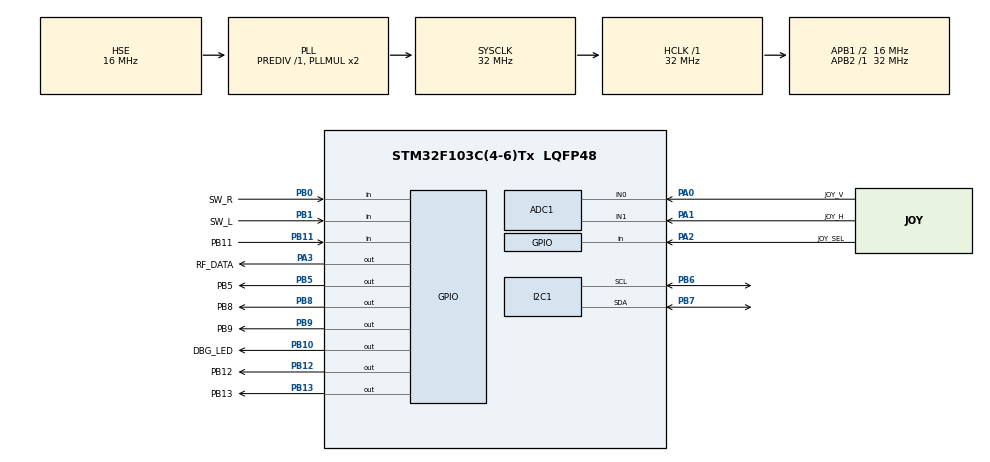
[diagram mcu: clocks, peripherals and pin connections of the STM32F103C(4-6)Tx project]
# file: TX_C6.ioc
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ADC1.Channel-1\#ChannelRegularConversion=ADC_CHANNEL_0
ADC1.NbrOfConversionFlag=1
ADC1.Rank-1\#ChannelRegularConversion=1
ADC1.SamplingTime-1\#ChannelRegularConversion=ADC_SAMPLETIME_1CYCLE_5
ADC1.master=1
I2C1.I2C_Mode=I2C_Fast
Mcu.Family=STM32F1
Mcu.Name=STM32F103C(4-6)Tx
Mcu.Package=LQFP48
NVIC.PriorityGroup=NVIC_PRIORITYGROUP_4
NVIC.TIM2_IRQn=true\:0\:0\:false\:false\:true\:true\:true\:true
PA0-WKUP.GPIO_Label=JOY_V
PA0-WKUP.Signal=SharedAnalog_PA0
PA1.GPIO_Label=JOY_H
PA1.Signal=SharedAnalog_PA1
PA13.Mode=Serial_Wire
PA13.Signal=SYS_JTMS-SWDIO
PA14.Mode=Serial_Wire
PA14.Signal=SYS_JTCK-SWCLK
PA2.GPIO_Label=JOY_SEL
PA2.Signal=GPIO_Input
PA3.GPIO_Label=RF_DATA
PA3.Signal=GPIO_Output
PB0.GPIO_Label=SW_R
PB0.Signal=GPIO_Input
PB1.GPIO_Label=SW_L
PB1.Signal=GPIO_Input
PB10.GPIO_Label=DBG_LED
PB10.Signal=GPIO_Output
PB11.GPIO_Label=PB11
PB11.Signal=GPIO_Input
PB12.GPIO_Label=PB12
PB12.Signal=GPIO_Output
PB13.GPIO_Label=PB13
PB13.Signal=GPIO_Output
PB5.GPIO_Label=PB5
PB5.Signal=GPIO_Output
PB6.Mode=I2C
PB6.Signal=I2C1_SCL
PB7.Mode=I2C
PB7.Signal=I2C1_SDA
PB8.GPIO_Label=PB8
PB8.Signal=GPIO_Output
PB9.GPIO_Label=PB9
PB9.Signal=GPIO_Output
PD0-OSC_IN.Mode=HSE-External-Oscillator
PD0-OSC_IN.Signal=RCC_OSC_IN
PD1-OSC_OUT.Mode=HSE-External-Oscillator
PD1-OSC_OUT.Signal=RCC_OSC_OUT
ProjectManager.HeapSize=0x200
ProjectManager.StackSize=0x400
ProjectManager.TargetToolchain=STM32CubeIDE
RCC.ADCPresc=RCC_ADCPCLK2_DIV4
RCC.AHBFreq_Value=32000000
RCC.APB1CLKDivider=RCC_HCLK_DIV2
RCC.APB1Freq_Value=16000000
RCC.APB1TimFreq_Value=32000000
RCC.APB2Freq_Value=32000000
RCC.APB2TimFreq_Value=32000000
RCC.HCLKFreq_Value=32000000
RCC.HSE_VALUE=16000000
RCC.PLLSourceVirtual=RCC_PLLSOURCE_HSE
RCC.PREFETCH_ENABLE=1
RCC.SYSCLKFreq_VALUE=32000000
RCC.SYSCLKSource=RCC_SYSCLKSOURCE_PLLCLK
RCC.USBFreq_Value=32000000
SH.SharedAnalog_PA0.0=GPIO_Analog
SH.SharedAnalog_PA0.1=ADC1_IN0,IN0
SH.SharedAnalog_PA1.0=GPIO_Analog
SH.SharedAnalog_PA1.1=ADC1_IN1,IN1
TIM2.Period=1999
VP_TIM2_VS_ClockSourceINT.Mode=Internal
board=custom

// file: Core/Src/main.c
/* USER CODE BEGIN Header */
/**
  ******************************************************************************
  * @file           : main.c
  * @brief          : Main program body
  ******************************************************************************
  * @attention
  *
  * Copyright (c) 2026 STMicroelectronics.
  * All rights reserved.
  *
  * This software is licensed under terms that can be found in the LICENSE file
  * in the root directory of this software component.
  * If no LICENSE file comes with this software, it is provided AS-IS.
  *
  ******************************************************************************
  */
/* USER CODE END Header */
#include "main.h"

/* USER CODE BEGIN Includes */
#include "ask_hal.h"
/* USER CODE END Includes */

/* USER CODE BEGIN PD */

#define JOY_CENTER    2048                                          /* ADC mid-scale */
#define JOY_DEADZONE  200                                           /* dead-band either side */
#define JOY_RANGE     (JOY_CENTER - JOY_DEADZONE)                  /* usable range: 1848 */
#define MOTOR_DUTY_MIN  2U                                          /* min duty when moving */
#define MOTOR_DUTY_MAX  31U                                         /* matches MOTOR_PWM_STEPS-1 on RX */

/* Packet field: direction byte values — must match btm9011_simple.h on RX */
#define DIR_BRAKE    0U
#define DIR_FORWARD  1U
#define DIR_REVERSE  2U

/* ASK transmission parameters */
#define ASK_BIT_TIME_US  1000U   /* 1 kbps — conservative, suits XY-MK-5V/FS1000A */
#define ASK_RETRIES      2U      /* repeat count per ask_send_bytes call */
#define ASK_SEND_PERIOD  50U     /* ms between transmissions (~20 Hz update rate) */

/* USER CODE END PD */

ADC_HandleTypeDef hadc1;

I2C_HandleTypeDef hi2c1;

TIM_HandleTypeDef htim2;

void SystemClock_Config(void);
static void MX_GPIO_Init(void);
static void MX_I2C1_Init(void);
static void MX_TIM2_Init(void);
static void MX_ADC1_Init(void);
/* USER CODE BEGIN PFP */

static uint16_t ADC_ReadChannel(uint32_t channel);

/* USER CODE END PFP */

int main(void)
{

  /* MCU Configuration--------------------------------------------------------*/

  /* Reset of all peripherals, Initializes the Flash interface and the Systick. */
  HAL_Init();

  /* Configure the system clock */
  SystemClock_Config();

  /* Initialize all configured peripherals */
  MX_GPIO_Init();
  MX_I2C1_Init();
  MX_TIM2_Init();
  MX_ADC1_Init();
  /* USER CODE BEGIN 2 */

  /* ASK 433 MHz transmitter — TX-only, no RX pin on this board */
  ask433.fn_micros    = ask_micros_433;
  ask433.fn_delay_ms  = ask_delay_ms_433;
  ask433.fn_delay_us  = ask_delay_us_433;
  ask433.fn_init_tx   = ask_init_tx433;
  ask433.fn_write_pin = ask_write_pin_433;
  ask433.fn_init_rx   = NULL;
  ask433.fn_read_pin  = NULL;
  ask_init(&ask433);

  /* USER CODE END 2 */

  /* Infinite loop */
  while (1)
  {

    /* USER CODE BEGIN 3 */

    /* Read joystick axes */
    uint16_t raw_v = ADC_ReadChannel(ADC_CHANNEL_0); /* vertical  — throttle */
    uint16_t raw_h = ADC_ReadChannel(ADC_CHANNEL_1); /* horizontal — steering */

    /* ── Throttle ─────────────────────────────────────────────────────────── */
    int16_t  dv       = (int16_t)raw_v - JOY_CENTER;
    uint8_t  duty     = 0;
    uint8_t  dir      = DIR_BRAKE;

    if (dv > (int16_t)JOY_DEADZONE) {
      int16_t mag = dv - (int16_t)JOY_DEADZONE;
      if (mag > (int16_t)JOY_RANGE) mag = (int16_t)JOY_RANGE;
      duty = (uint8_t)(MOTOR_DUTY_MIN + (uint32_t)mag * (MOTOR_DUTY_MAX - MOTOR_DUTY_MIN) / JOY_RANGE);
      dir  = DIR_FORWARD;
    } else if (dv < -(int16_t)JOY_DEADZONE) {
      int16_t mag = -dv - (int16_t)JOY_DEADZONE;
      if (mag > (int16_t)JOY_RANGE) mag = (int16_t)JOY_RANGE;
      duty = (uint8_t)(MOTOR_DUTY_MIN + (uint32_t)mag * (MOTOR_DUTY_MAX - MOTOR_DUTY_MIN) / JOY_RANGE);
      dir  = DIR_REVERSE;
    }

    /* ── Steering ─────────────────────────────────────────────────────────── */
    /* Map 0-4095 → 0-255 */
    uint8_t steering = (uint8_t)(raw_h * 255U / 4095U);

    /* ── Build and send 3-byte packet ────────────────────────────────────── */
    /* [duty 0-31][dir 0=brake/1=fwd/2=rev][steering 0-255, 128=centre] */
    uint8_t pkt[3] = { duty, dir, steering };
    ask_send_bytes(&ask433, pkt, 3, ASK_BIT_TIME_US, ASK_RETRIES);

    HAL_Delay(ASK_SEND_PERIOD);

    /* USER CODE END 3 */
  }
}

void SystemClock_Config(void)
{
  RCC_OscInitTypeDef RCC_OscInitStruct = {0};
  RCC_ClkInitTypeDef RCC_ClkInitStruct = {0};
  RCC_PeriphCLKInitTypeDef PeriphClkInit = {0};

  /** Initializes the RCC Oscillators according to the specified parameters
  * in the RCC_OscInitTypeDef structure.
  */
  RCC_OscInitStruct.OscillatorType = RCC_OSCILLATORTYPE_HSE;
  RCC_OscInitStruct.HSEState = RCC_HSE_ON;
  RCC_OscInitStruct.HSEPredivValue = RCC_HSE_PREDIV_DIV1;
  RCC_OscInitStruct.HSIState = RCC_HSI_ON;
  RCC_OscInitStruct.PLL.PLLState = RCC_PLL_ON;
  RCC_OscInitStruct.PLL.PLLSource = RCC_PLLSOURCE_HSE;
  RCC_OscInitStruct.PLL.PLLMUL = RCC_PLL_MUL2;
  if (HAL_RCC_OscConfig(&RCC_OscInitStruct) != HAL_OK)
  {
    Error_Handler();
  }

  /** Initializes the CPU, AHB and APB buses clocks
  */
  RCC_ClkInitStruct.ClockType = RCC_CLOCKTYPE_HCLK|RCC_CLOCKTYPE_SYSCLK
                              |RCC_CLOCKTYPE_PCLK1|RCC_CLOCKTYPE_PCLK2;
  RCC_ClkInitStruct.SYSCLKSource = RCC_SYSCLKSOURCE_PLLCLK;
  RCC_ClkInitStruct.AHBCLKDivider = RCC_SYSCLK_DIV1;
  RCC_ClkInitStruct.APB1CLKDivider = RCC_HCLK_DIV2;
  RCC_ClkInitStruct.APB2CLKDivider = RCC_HCLK_DIV1;

  if (HAL_RCC_ClockConfig(&RCC_ClkInitStruct, FLASH_LATENCY_1) != HAL_OK)
  {
    Error_Handler();
  }
  PeriphClkInit.PeriphClockSelection = RCC_PERIPHCLK_ADC;
  PeriphClkInit.AdcClockSelection = RCC_ADCPCLK2_DIV4;
  if (HAL_RCCEx_PeriphCLKConfig(&PeriphClkInit) != HAL_OK)
  {
    Error_Handler();
  }
}

static void MX_ADC1_Init(void)
{

  ADC_ChannelConfTypeDef sConfig = {0};

  /** Common config
  */
  hadc1.Instance = ADC1;
  hadc1.Init.ScanConvMode = ADC_SCAN_DISABLE;
  hadc1.Init.ContinuousConvMode = DISABLE;
  hadc1.Init.DiscontinuousConvMode = DISABLE;
  hadc1.Init.ExternalTrigConv = ADC_SOFTWARE_START;
  hadc1.Init.DataAlign = ADC_DATAALIGN_RIGHT;
  hadc1.Init.NbrOfConversion = 1;
  if (HAL_ADC_Init(&hadc1) != HAL_OK)
  {
    Error_Handler();
  }

  /** Configure Regular Channel
  */
  sConfig.Channel = ADC_CHANNEL_0;
  sConfig.Rank = ADC_REGULAR_RANK_1;
  sConfig.SamplingTime = ADC_SAMPLETIME_1CYCLE_5;
  if (HAL_ADC_ConfigChannel(&hadc1, &sConfig) != HAL_OK)
  {
    Error_Handler();
  }

}

static void MX_I2C1_Init(void)
{

  hi2c1.Instance = I2C1;
  hi2c1.Init.ClockSpeed = 400000;
  hi2c1.Init.DutyCycle = I2C_DUTYCYCLE_2;
  hi2c1.Init.OwnAddress1 = 0;
  hi2c1.Init.AddressingMode = I2C_ADDRESSINGMODE_7BIT;
  hi2c1.Init.DualAddressMode = I2C_DUALADDRESS_DISABLE;
  hi2c1.Init.OwnAddress2 = 0;
  hi2c1.Init.GeneralCallMode = I2C_GENERALCALL_DISABLE;
  hi2c1.Init.NoStretchMode = I2C_NOSTRETCH_DISABLE;
  if (HAL_I2C_Init(&hi2c1) != HAL_OK)
  {
    Error_Handler();
  }

}

static void MX_TIM2_Init(void)
{

  TIM_ClockConfigTypeDef sClockSourceConfig = {0};
  TIM_MasterConfigTypeDef sMasterConfig = {0};

  htim2.Instance = TIM2;
  htim2.Init.Prescaler = 0;
  htim2.Init.CounterMode = TIM_COUNTERMODE_UP;
  htim2.Init.Period = 1999;
  htim2.Init.ClockDivision = TIM_CLOCKDIVISION_DIV1;
  htim2.Init.AutoReloadPreload = TIM_AUTORELOAD_PRELOAD_DISABLE;
  if (HAL_TIM_Base_Init(&htim2) != HAL_OK)
  {
    Error_Handler();
  }
  sClockSourceConfig.ClockSource = TIM_CLOCKSOURCE_INTERNAL;
  if (HAL_TIM_ConfigClockSource(&htim2, &sClockSourceConfig) != HAL_OK)
  {
    Error_Handler();
  }
  sMasterConfig.MasterOutputTrigger = TIM_TRGO_RESET;
  sMasterConfig.MasterSlaveMode = TIM_MASTERSLAVEMODE_DISABLE;
  if (HAL_TIMEx_MasterConfigSynchronization(&htim2, &sMasterConfig) != HAL_OK)
  {
    Error_Handler();
  }

}

static void MX_GPIO_Init(void)
{
  GPIO_InitTypeDef GPIO_InitStruct = {0};

  /* GPIO Ports Clock Enable */
  __HAL_RCC_GPIOD_CLK_ENABLE();
  __HAL_RCC_GPIOA_CLK_ENABLE();
  __HAL_RCC_GPIOB_CLK_ENABLE();

  /*Configure GPIO pin Output Level */
  HAL_GPIO_WritePin(RF_DATA_GPIO_Port, RF_DATA_Pin, GPIO_PIN_RESET);

  /*Configure GPIO pin Output Level */
  HAL_GPIO_WritePin(GPIOB, DBG_LED_Pin|PB12_Pin|PB13_Pin|PB5_Pin
                          |PB8_Pin|PB9_Pin, GPIO_PIN_RESET);

  /*Configure GPIO pin : JOY_SEL_Pin */
  GPIO_InitStruct.Pin = JOY_SEL_Pin;
  GPIO_InitStruct.Mode = GPIO_MODE_INPUT;
  GPIO_InitStruct.Pull = GPIO_NOPULL;
  HAL_GPIO_Init(JOY_SEL_GPIO_Port, &GPIO_InitStruct);

  /*Configure GPIO pin : RF_DATA_Pin */
  GPIO_InitStruct.Pin = RF_DATA_Pin;
  GPIO_InitStruct.Mode = GPIO_MODE_OUTPUT_PP;
  GPIO_InitStruct.Pull = GPIO_NOPULL;
  GPIO_InitStruct.Speed = GPIO_SPEED_FREQ_LOW;
  HAL_GPIO_Init(RF_DATA_GPIO_Port, &GPIO_InitStruct);

  /*Configure GPIO pins : SW_R_Pin SW_L_Pin PB11_Pin */
  GPIO_InitStruct.Pin = SW_R_Pin|SW_L_Pin|PB11_Pin;
  GPIO_InitStruct.Mode = GPIO_MODE_INPUT;
  GPIO_InitStruct.Pull = GPIO_NOPULL;
  HAL_GPIO_Init(GPIOB, &GPIO_InitStruct);

  /*Configure GPIO pins : DBG_LED_Pin PB12_Pin PB13_Pin PB5_Pin
                           PB8_Pin PB9_Pin */
  GPIO_InitStruct.Pin = DBG_LED_Pin|PB12_Pin|PB13_Pin|PB5_Pin
                          |PB8_Pin|PB9_Pin;
  GPIO_InitStruct.Mode = GPIO_MODE_OUTPUT_PP;
  GPIO_InitStruct.Pull = GPIO_NOPULL;
  GPIO_InitStruct.Speed = GPIO_SPEED_FREQ_LOW;
  HAL_GPIO_Init(GPIOB, &GPIO_InitStruct);

}

/* USER CODE BEGIN 4 */

static uint16_t ADC_ReadChannel(uint32_t channel)
{
    ADC_ChannelConfTypeDef sConfig = {0};
    sConfig.Channel      = channel;
    sConfig.Rank         = ADC_REGULAR_RANK_1;
    sConfig.SamplingTime = ADC_SAMPLETIME_1CYCLE_5;
    HAL_ADC_ConfigChannel(&hadc1, &sConfig);
    HAL_ADC_Start(&hadc1);
    HAL_ADC_PollForConversion(&hadc1, 10);
    uint16_t val = (uint16_t)HAL_ADC_GetValue(&hadc1);
    HAL_ADC_Stop(&hadc1);
    return val;
}

/* USER CODE END 4 */

void Error_Handler(void)
{
  __disable_irq();
  while (1)
  {
  }
}
